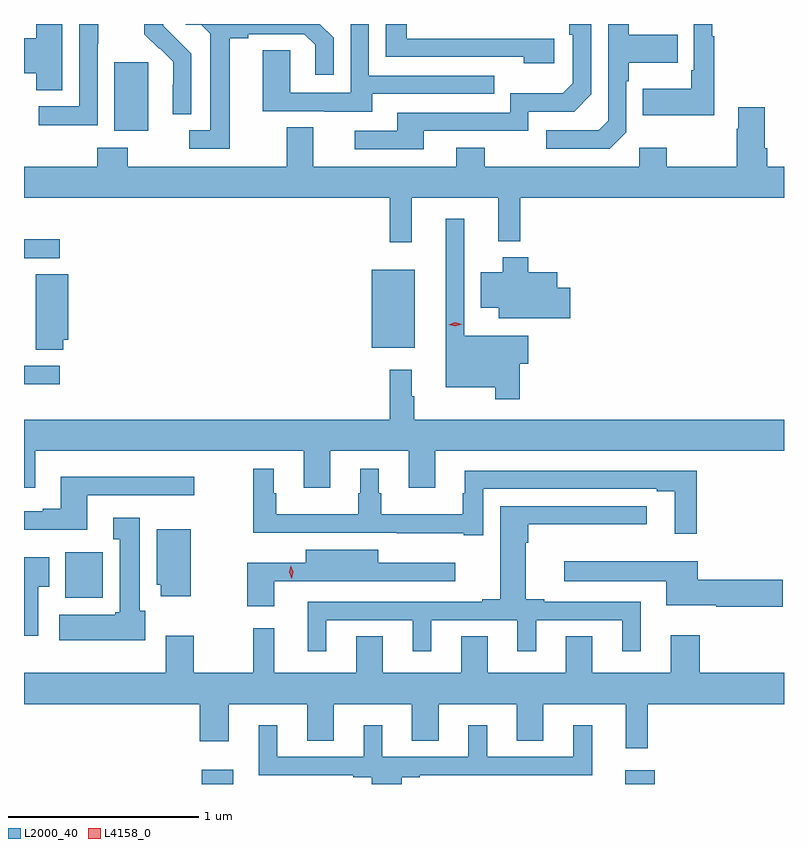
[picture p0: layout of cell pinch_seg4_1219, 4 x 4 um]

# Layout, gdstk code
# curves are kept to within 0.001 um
import gdstk
lib = gdstk.Library(unit=1e-6, precision=1e-09)
def R(c, l, rs):  # rectangles x0, y0, x1, y1
    for r in rs: c.add(gdstk.rectangle(r[:2], r[2:], *l))
def P(c, l, *ps):  # polygons
    for p in ps: c.add(gdstk.Polygon(p, *l))
L2000_40 = (2000, 40)
L4158_0 = (4158, 0)

pinch_seg4_1219 = lib.new_cell('pinch_seg4_1219')
R(pinch_seg4_1219, L2000_40, [(159.788,816.379,159.955,816.454), (162.017,816.379,162.173,816.451), (159.071,817.358,159.268,817.6), (158.853,818.484,159.04,818.58), (160.682,818.675,160.909,819.085), (158.853,819.147,159.04,819.246), (159.329,819.818,159.508,820.179)])
P(pinch_seg4_1219, L2000_40, [(160.687,820.011),(161.327,820.011),(161.327,820.107),(160.668,820.107),(160.668,820.379),(160.572,820.379),(160.572,820.017),(160.254,820.017),(160.254,820.241),(160.109,820.241),(160.109,819.921),(160.433,819.921),(160.433,819.917),(160.687,819.917)],
  [(159.24,820.276),(159.243,820.276),(159.243,820.379),(159.144,820.379),(159.144,819.945),(158.931,819.945),(158.931,819.847),(159.24,819.847)],
  [(159.937,820.304),(160.033,820.304),(160.033,820.326),(160.328,820.326),(160.385,820.269),(160.385,820.113),(160.482,820.113),(160.482,820.306),(160.409,820.379),(159.705,820.379),(159.705,820.374),(159.786,820.374),(159.833,820.327),(159.833,819.819),(159.723,819.819),(159.723,819.723),(159.937,819.723)],
  [(159.732,820.222),(159.586,820.37),(159.586,820.379),(159.487,820.379),(159.487,820.325),(159.564,820.248),(159.567,820.251),(159.638,820.181),(159.638,820.058),(159.636,820.058),(159.636,819.904),(159.732,819.904)],
  [(159.055,820.379),(158.917,820.379),(158.917,820.304),(158.853,820.304),(158.853,820.121),(158.917,820.121),(158.917,820.03),(159.055,820.03)],
  [(162.487,820.315),(162.475,820.315),(162.475,820.379),(162.378,820.379),(162.378,820.135),(162.366,820.135),(162.366,820.039),(162.109,820.039),(162.109,819.899),(162.487,819.899)],
  [(161.644,820.302),(160.867,820.302),(160.867,820.379),(160.758,820.379),(160.758,820.206),(161.483,820.206),(161.483,820.172),(161.644,820.172)],
  [(162.024,819.81),(162.024,820.079),(162.037,820.079),(162.037,820.175),(162.293,820.175),(162.293,820.323),(162.037,820.323),(162.037,820.379),(161.928,820.379),(161.928,819.87),(161.877,819.819),(161.601,819.819),(161.601,819.723),(161.937,819.723)],
  [(160.957,819.816),(161.508,819.816),(161.508,819.918),(161.748,819.918),(161.838,820.008),(161.838,820.379),(161.722,820.379),(161.722,820.322),(161.742,820.322),(161.742,820.068),(161.689,820.015),(161.412,820.015),(161.412,819.912),(160.817,819.912),(160.817,819.816),(160.593,819.816),(160.593,819.72),(160.957,819.72)],
  [(160.895,819.464),(161.348,819.464),(161.348,819.236),(161.465,819.236),(161.465,819.464),(162.853,819.464),(162.853,819.628),(162.764,819.628),(162.764,819.724),(162.751,819.724),(162.751,819.94),(162.611,819.94),(162.611,819.827),(162.604,819.827),(162.604,819.628),(162.237,819.628),(162.237,819.727),(162.09,819.727),(162.09,819.628),(161.277,819.628),(161.277,819.727),(161.129,819.727),(161.129,819.628),(160.375,819.628),(160.375,819.836),(160.235,819.836),(160.235,819.628),(159.399,819.628),(159.399,819.727),(159.239,819.727),(159.239,819.628),(158.853,819.628),(158.853,819.464),(160.777,819.464),(160.777,819.231),(160.895,819.231)],
  [(161.462,818.59),(161.506,818.59),(161.506,818.737),(161.169,818.737),(161.169,819.355),(161.072,819.355),(161.072,818.468),(161.334,818.468),(161.334,818.403),(161.462,818.403)],
  [(161.728,818.991),(161.659,818.991),(161.659,819.073),(161.507,819.073),(161.507,819.151),(161.372,819.151),(161.372,819.073),(161.258,819.073),(161.258,818.885),(161.352,818.885),(161.352,818.831),(161.728,818.831)],
  [(159.059,818.718),(159.086,818.718),(159.086,819.062),(158.915,819.062),(158.915,818.665),(159.059,818.665)],
  [(160.777,818.56),(160.777,818.296),(158.853,818.296),(158.853,817.938),(158.911,817.938),(158.911,818.132),(160.325,818.132),(160.325,817.938),(160.465,817.938),(160.465,818.132),(160.877,818.132),(160.877,817.938),(161.017,817.938),(161.017,818.132),(162.853,818.132),(162.853,818.296),(160.906,818.296),(160.906,818.42),(160.894,818.42),(160.894,818.56)],
  [(161.271,817.932),(162.182,817.932),(162.182,817.92),(162.278,817.92),(162.278,817.695),(162.395,817.695),(162.395,818.028),(161.174,818.028),(161.174,817.91),(161.163,817.91),(161.163,817.798),(160.732,817.798),(160.732,817.91),(160.72,817.91),(160.72,818.038),(160.622,818.038),(160.622,817.91),(160.611,817.91),(160.611,817.798),(160.18,817.798),(160.18,817.91),(160.168,817.91),(160.168,818.038),(160.059,818.038),(160.059,817.701),(160.816,817.701),(160.816,817.7),(161.168,817.7),(161.168,817.689),(161.271,817.689)],
  [(159.187,817.899),(159.748,817.899),(159.748,817.996),(159.047,817.996),(159.047,817.828),(158.951,817.828),(158.951,817.815),(158.853,817.815),(158.853,817.718),(159.187,817.718)],
  [(160.444,817.242),(160.898,817.242),(160.898,817.077),(160.996,817.077),(160.996,817.242),(161.45,817.242),(161.45,817.077),(161.548,817.077),(161.548,817.242),(162.002,817.242),(162.002,817.077),(162.1,817.077),(162.1,817.338),(161.59,817.338),(161.59,817.351),(161.494,817.351),(161.494,817.649),(161.507,817.649),(161.507,817.745),(162.13,817.745),(162.13,817.842),(161.36,817.842),(161.36,817.351),(161.264,817.351),(161.264,817.338),(160.346,817.338),(160.346,817.077),(160.444,817.077)],
  [(159.49,817.29),(159.463,817.29),(159.463,817.78),(159.323,817.78),(159.323,817.667),(159.356,817.667),(159.356,817.284),(159.333,817.284),(159.333,817.27),(159.039,817.27),(159.039,817.136),(159.49,817.136)],
  [(159.73,817.72),(159.551,817.72),(159.551,817.428),(159.572,817.428),(159.572,817.368),(159.73,817.368)],
  [(160.171,817.446),(161.122,817.446),(161.122,817.543),(160.717,817.543),(160.717,817.612),(160.337,817.612),(160.337,817.543),(160.028,817.543),(160.028,817.314),(160.171,817.314)],
  [(158.929,817.417),(158.986,817.417),(158.986,817.573),(158.853,817.573),(158.853,817.158),(158.929,817.158)],
  [(162.847,817.454),(162.4,817.454),(162.4,817.552),(161.697,817.552),(161.697,817.445),(162.233,817.445),(162.233,817.319),(162.496,817.319),(162.496,817.312),(162.847,817.312)],
  [(161.705,817.157),(161.705,816.964),(161.293,816.964),(161.293,817.157),(161.153,817.157),(161.153,816.964),(160.741,816.964),(160.741,817.157),(160.601,817.157),(160.601,816.964),(160.169,816.964),(160.169,817.198),(160.059,817.198),(160.059,816.964),(159.747,816.964),(159.747,817.159),(159.599,817.159),(159.599,816.964),(158.853,816.964),(158.853,816.8),(159.779,816.8),(159.779,816.603),(159.931,816.603),(159.931,816.8),(160.343,816.8),(160.343,816.607),(160.483,816.607),(160.483,816.8),(160.895,816.8),(160.895,816.607),(161.035,816.607),(161.035,816.8),(161.447,816.8),(161.447,816.607),(161.587,816.607),(161.587,816.8),(162.02,816.8),(162.02,816.567),(162.137,816.567),(162.137,816.8),(162.853,816.8),(162.853,816.964),(162.41,816.964),(162.41,817.162),(162.257,817.162),(162.257,816.964),(161.845,816.964),(161.845,817.157)],
  [(160.84,816.414),(160.936,816.414),(160.936,816.426),(161.843,816.426),(161.843,816.688),(161.744,816.688),(161.744,816.522),(161.29,816.522),(161.29,816.688),(161.192,816.688),(161.192,816.522),(160.738,816.522),(160.738,816.688),(160.64,816.688),(160.64,816.522),(160.186,816.522),(160.186,816.688),(160.088,816.688),(160.088,816.426),(160.586,816.426),(160.586,816.414),(160.682,816.414),(160.682,816.379),(160.84,816.379)])
P(pinch_seg4_1219, L4158_0, [(161.124,818.788),(161.088,818.796),(161.088,818.796),(161.088,818.796),(161.123,818.808),(161.159,818.8),(161.159,818.8),(161.159,818.8)],
  [(160.262,817.459),(160.25,817.493),(160.257,817.529),(160.257,817.529),(160.258,817.529),(160.27,817.495),(160.263,817.459),(160.263,817.459)])

lib.write_gds('pinch_seg4_1219.gds')
